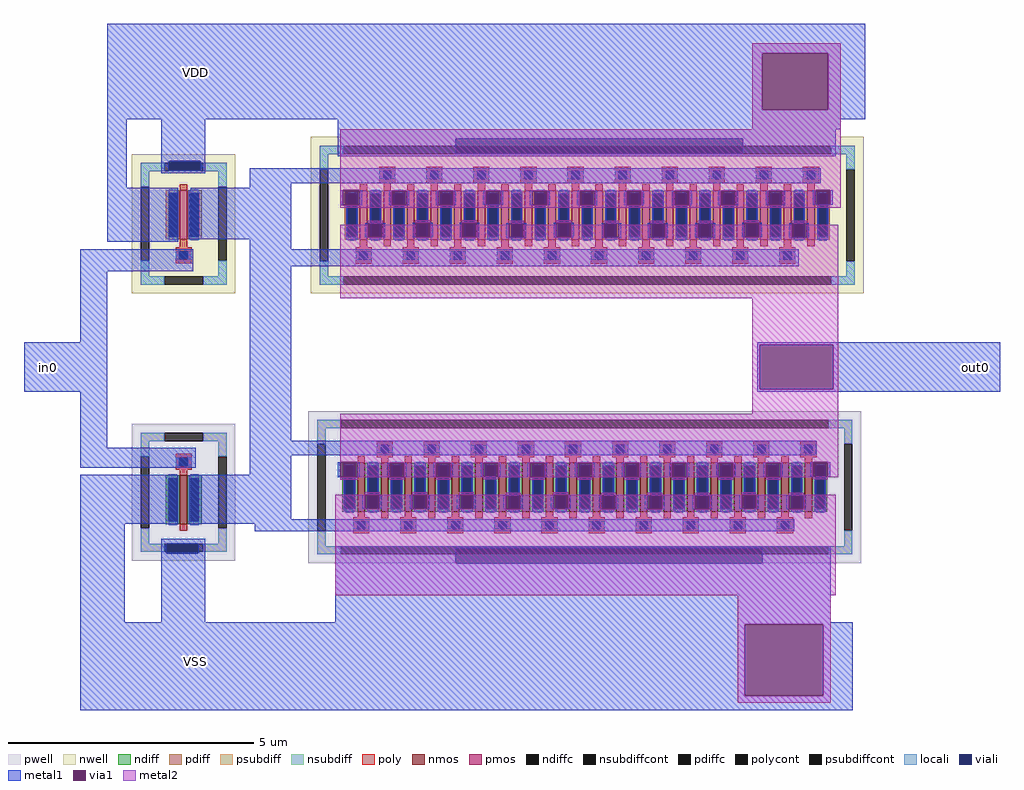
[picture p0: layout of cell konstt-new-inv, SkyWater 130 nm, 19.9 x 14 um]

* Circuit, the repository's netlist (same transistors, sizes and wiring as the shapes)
** sch_path: /media/sf_ASIC_Playground/konstt-new-inv/xschem/konstt-new-inv.sch
.subckt konstt-new-inv VDD VSS out0 in0
*.PININFO VDD:B VSS:B in0:I out0:O
XM1 inverted in0 VDD VDD sky130_fd_pr__pfet_01v8 L=0.15 W=1 nf=1 m=1
XM2 inverted in0 VSS VSS sky130_fd_pr__nfet_01v8 L=0.15 W=1 nf=1 m=1
XM3 out0 inverted VDD VDD sky130_fd_pr__pfet_01v8 L=0.15 W=20 nf=20 m=1
XM4 out0 inverted VSS VSS sky130_fd_pr__nfet_01v8 L=0.15 W=20 nf=20 m=1
.ends
.end

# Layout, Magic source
magic
tech sky130A
magscale 1 2
<< nwell >>
rect 4390 70 4750 420
rect 2710 -250 4750 70
<< viali >>
rect 3180 -30 4350 30
rect 2010 -100 2140 -60
rect 2000 -1660 2130 -1620
rect 3180 -1700 4430 -1640
<< metal1 >>
rect 1760 380 4850 500
rect 1760 150 4430 380
rect 4700 150 4850 380
rect 1760 110 4850 150
rect 1760 -170 1840 110
rect 1980 -60 2160 110
rect 2700 70 4750 110
rect 2700 30 4730 70
rect 2700 -30 3180 30
rect 4350 -30 4730 30
rect 2700 -40 4730 -30
rect 1980 -100 2010 -60
rect 2140 -100 2160 -60
rect 1980 -110 2160 -100
rect 2340 -150 4670 -90
rect 2340 -170 2510 -150
rect 1760 -390 2050 -170
rect 2100 -380 2510 -170
rect 2710 -240 2720 -180
rect 2790 -240 2800 -180
rect 2910 -240 2920 -182
rect 2981 -240 2991 -182
rect 3099 -240 3109 -182
rect 3170 -240 3180 -182
rect 3293 -239 3303 -181
rect 3364 -239 3374 -181
rect 3483 -240 3493 -182
rect 3554 -240 3564 -182
rect 3676 -240 3686 -182
rect 3747 -240 3757 -182
rect 3867 -240 3877 -182
rect 3938 -240 3948 -182
rect 4062 -240 4072 -182
rect 4133 -240 4143 -182
rect 4252 -240 4262 -182
rect 4323 -240 4333 -182
rect 4444 -240 4454 -182
rect 4515 -240 4525 -182
rect 4637 -238 4647 -180
rect 4708 -238 4718 -180
rect 2812 -371 2822 -313
rect 2883 -371 2893 -313
rect 3005 -370 3015 -312
rect 3076 -370 3086 -312
rect 3196 -370 3206 -312
rect 3267 -370 3277 -312
rect 3387 -372 3397 -314
rect 3458 -372 3468 -314
rect 3581 -370 3591 -312
rect 3652 -370 3662 -312
rect 3775 -372 3785 -314
rect 3846 -372 3856 -314
rect 3964 -372 3974 -314
rect 4035 -372 4045 -314
rect 4157 -372 4167 -314
rect 4228 -372 4238 -314
rect 4348 -370 4358 -312
rect 4419 -370 4429 -312
rect 4540 -372 4550 -314
rect 4611 -372 4621 -314
rect 2340 -420 2510 -380
rect 1650 -510 2110 -420
rect 2340 -490 4580 -420
rect 1650 -800 1760 -510
rect 1420 -1000 1760 -800
rect 1650 -1230 1760 -1000
rect 2340 -1200 2510 -490
rect 4410 -810 5400 -800
rect 4410 -990 4420 -810
rect 4720 -990 5400 -810
rect 4410 -1000 5400 -990
rect 1650 -1310 2120 -1230
rect 2340 -1260 4650 -1200
rect 2340 -1340 2510 -1260
rect 1650 -1540 2040 -1340
rect 2100 -1520 2510 -1340
rect 2700 -1349 2710 -1289
rect 2780 -1349 2790 -1289
rect 2900 -1349 2910 -1291
rect 2971 -1349 2981 -1291
rect 3089 -1349 3099 -1291
rect 3160 -1349 3170 -1291
rect 3283 -1348 3293 -1290
rect 3354 -1348 3364 -1290
rect 3473 -1349 3483 -1291
rect 3544 -1349 3554 -1291
rect 3666 -1349 3676 -1291
rect 3737 -1349 3747 -1291
rect 3857 -1349 3867 -1291
rect 3928 -1349 3938 -1291
rect 4052 -1349 4062 -1291
rect 4123 -1349 4133 -1291
rect 4242 -1349 4252 -1291
rect 4313 -1349 4323 -1291
rect 4434 -1349 4444 -1291
rect 4505 -1349 4515 -1291
rect 4627 -1347 4637 -1289
rect 4698 -1347 4708 -1289
rect 2800 -1479 2810 -1421
rect 2871 -1479 2881 -1421
rect 2993 -1478 3003 -1420
rect 3064 -1478 3074 -1420
rect 3184 -1478 3194 -1420
rect 3255 -1478 3265 -1420
rect 3375 -1480 3385 -1422
rect 3446 -1480 3456 -1422
rect 3569 -1478 3579 -1420
rect 3640 -1478 3650 -1420
rect 3763 -1480 3773 -1422
rect 3834 -1480 3844 -1422
rect 3952 -1480 3962 -1422
rect 4023 -1480 4033 -1422
rect 4145 -1480 4155 -1422
rect 4216 -1480 4226 -1422
rect 4336 -1478 4346 -1420
rect 4407 -1478 4417 -1420
rect 4528 -1480 4538 -1422
rect 4599 -1480 4609 -1422
rect 2100 -1540 4560 -1520
rect 1650 -1940 1830 -1540
rect 2360 -1570 4560 -1540
rect 1980 -1620 2160 -1600
rect 1980 -1660 2000 -1620
rect 2130 -1660 2160 -1620
rect 1980 -1940 2160 -1660
rect 2690 -1640 4710 -1630
rect 2690 -1700 3180 -1640
rect 4430 -1700 4710 -1640
rect 2690 -1940 4710 -1700
rect 1650 -1950 4800 -1940
rect 1650 -2240 4360 -1950
rect 4680 -2240 4800 -1950
rect 1650 -2300 4800 -2240
<< via1 >>
rect 4430 150 4700 380
rect 2720 -240 2790 -180
rect 2920 -240 2981 -182
rect 3109 -240 3170 -182
rect 3303 -239 3364 -181
rect 3493 -240 3554 -182
rect 3686 -240 3747 -182
rect 3877 -240 3938 -182
rect 4072 -240 4133 -182
rect 4262 -240 4323 -182
rect 4454 -240 4515 -182
rect 4647 -238 4708 -180
rect 2822 -371 2883 -313
rect 3015 -370 3076 -312
rect 3206 -370 3267 -312
rect 3397 -372 3458 -314
rect 3591 -370 3652 -312
rect 3785 -372 3846 -314
rect 3974 -372 4035 -314
rect 4167 -372 4228 -314
rect 4358 -370 4419 -312
rect 4550 -372 4611 -314
rect 4420 -990 4720 -810
rect 2710 -1349 2780 -1289
rect 2910 -1349 2971 -1291
rect 3099 -1349 3160 -1291
rect 3293 -1348 3354 -1290
rect 3483 -1349 3544 -1291
rect 3676 -1349 3737 -1291
rect 3867 -1349 3928 -1291
rect 4062 -1349 4123 -1291
rect 4252 -1349 4313 -1291
rect 4444 -1349 4505 -1291
rect 4637 -1347 4698 -1289
rect 2810 -1479 2871 -1421
rect 3003 -1478 3064 -1420
rect 3194 -1478 3255 -1420
rect 3385 -1480 3446 -1422
rect 3579 -1478 3640 -1420
rect 3773 -1480 3834 -1422
rect 3962 -1480 4023 -1422
rect 4155 -1480 4216 -1422
rect 4346 -1478 4407 -1420
rect 4538 -1480 4599 -1422
rect 4360 -2240 4680 -1950
<< metal2 >>
rect 4390 380 4750 420
rect 4390 150 4430 380
rect 4700 150 4750 380
rect 4390 70 4750 150
rect 2710 -180 4750 70
rect 2710 -240 2720 -180
rect 2790 -181 4647 -180
rect 2790 -182 3303 -181
rect 2790 -240 2920 -182
rect 2981 -240 3109 -182
rect 3170 -239 3303 -182
rect 3364 -182 4647 -181
rect 3364 -239 3493 -182
rect 3170 -240 3493 -239
rect 3554 -240 3686 -182
rect 3747 -240 3877 -182
rect 3938 -240 4072 -182
rect 4133 -240 4262 -182
rect 4323 -240 4454 -182
rect 4515 -238 4647 -182
rect 4708 -238 4750 -180
rect 4515 -240 4750 -238
rect 2710 -250 4750 -240
rect 2822 -313 2883 -303
rect 2710 -371 2822 -320
rect 3015 -312 3076 -302
rect 2883 -370 3015 -320
rect 3206 -312 3267 -302
rect 3076 -370 3206 -320
rect 3397 -314 3458 -304
rect 3267 -370 3397 -320
rect 2883 -371 3397 -370
rect 2710 -372 3397 -371
rect 3591 -312 3652 -302
rect 3458 -370 3591 -320
rect 3785 -314 3846 -304
rect 3652 -370 3785 -320
rect 3458 -372 3785 -370
rect 3974 -314 4035 -304
rect 3846 -372 3974 -320
rect 4167 -314 4228 -304
rect 4035 -372 4167 -320
rect 4358 -312 4419 -302
rect 4228 -370 4358 -320
rect 4550 -314 4611 -304
rect 4419 -370 4550 -320
rect 4228 -372 4550 -370
rect 4611 -372 4740 -320
rect 2710 -620 4740 -372
rect 4390 -810 4740 -620
rect 4390 -990 4420 -810
rect 4720 -990 4740 -810
rect 4390 -1090 4740 -990
rect 2710 -1289 4740 -1090
rect 2780 -1290 4637 -1289
rect 2780 -1291 3293 -1290
rect 2780 -1349 2910 -1291
rect 2971 -1349 3099 -1291
rect 3160 -1348 3293 -1291
rect 3354 -1291 4637 -1290
rect 3354 -1348 3483 -1291
rect 3160 -1349 3483 -1348
rect 3544 -1349 3676 -1291
rect 3737 -1349 3867 -1291
rect 3928 -1349 4062 -1291
rect 4123 -1349 4252 -1291
rect 4313 -1349 4444 -1291
rect 4505 -1347 4637 -1291
rect 4698 -1347 4740 -1289
rect 4505 -1349 4740 -1347
rect 2710 -1350 4740 -1349
rect 2710 -1359 2780 -1350
rect 2910 -1359 2971 -1350
rect 3099 -1359 3160 -1350
rect 3293 -1358 3354 -1350
rect 3483 -1359 3544 -1350
rect 3676 -1359 3737 -1350
rect 3867 -1359 3928 -1350
rect 4062 -1359 4123 -1350
rect 4252 -1359 4313 -1350
rect 4444 -1359 4505 -1350
rect 4637 -1357 4698 -1350
rect 2810 -1420 2871 -1411
rect 3003 -1420 3064 -1410
rect 3194 -1420 3255 -1410
rect 3385 -1420 3446 -1412
rect 3579 -1420 3640 -1410
rect 3773 -1420 3834 -1412
rect 3962 -1420 4023 -1412
rect 4155 -1420 4216 -1412
rect 4346 -1420 4407 -1410
rect 4538 -1420 4599 -1412
rect 2690 -1421 3003 -1420
rect 2690 -1479 2810 -1421
rect 2871 -1478 3003 -1421
rect 3064 -1478 3194 -1420
rect 3255 -1422 3579 -1420
rect 3255 -1478 3385 -1422
rect 2871 -1479 3385 -1478
rect 2690 -1480 3385 -1479
rect 3446 -1478 3579 -1422
rect 3640 -1422 4346 -1420
rect 3640 -1478 3773 -1422
rect 3446 -1480 3773 -1478
rect 3834 -1480 3962 -1422
rect 4023 -1480 4155 -1422
rect 4216 -1478 4346 -1422
rect 4407 -1422 4730 -1420
rect 4407 -1478 4538 -1422
rect 4216 -1480 4538 -1478
rect 4599 -1480 4730 -1422
rect 2690 -1830 4730 -1480
rect 4330 -1950 4710 -1830
rect 4330 -2240 4360 -1950
rect 4680 -2240 4710 -1950
rect 4330 -2270 4710 -2240
use sky130_fd_pr__pfet_01v8_8DVCWJ  sky130_fd_pr__pfet_01v8_8DVCWJ_0 ~/asic/konstt-new-inv/mag
transform 1 0 3717 0 1 -281
box -1127 -319 1127 319
use sky130_fd_pr__pfet_01v8_MGS3BN  XM1
transform 1 0 2071 0 -1 -316
box -211 -284 211 284
use sky130_fd_pr__nfet_01v8_64Z3AY  XM2
transform 1 0 2071 0 1 -1411
box -211 -279 211 279
use sky130_fd_pr__nfet_01v8_YTLFGX  XM4 ~/asic/konstt-new-inv/mag
transform 1 0 3707 0 1 -1390
box -1127 -310 1127 310
<< labels >>
flabel metal1 5200 -1000 5400 -800 0 FreeSans 256 0 0 0 out0
port 2 nsew
flabel metal1 1420 -1000 1620 -800 0 FreeSans 256 0 0 0 in0
port 3 nsew
flabel metal1 2020 -2200 2220 -2000 0 FreeSans 256 0 0 0 VSS
port 1 nsew
flabel metal1 2020 200 2220 400 0 FreeSans 256 0 0 0 VDD
port 0 nsew
<< end >>

# cell sky130_fd_pr__pfet_01v8_8DVCWJ: kit device sky130_fd_pr__pfet_01v8, w 1.0 l 0.15 m 1 nf 20 diffcov 100 polycov 100 guard 1 glc 1 grc 1 gtc 1 gbc 1 tbcov 100 rlcov 100 topc 1 botc 1 poverlap 0 doverlap 1 lmin 0.15 wmin 0.42 compatible {sky130_fd_pr__pfet_01v8 sky130_fd_pr__pfet_01v8_lvt sky130_fd_pr__pfet_01v8_hvt sky130_fd_pr__pfet_g5v0d10v5} full_metal 1 viasrc 100 viadrn 100 viagate 100 viagb 0 viagr 0 viagl 0 viagt 0

# cell sky130_fd_pr__pfet_01v8_MGS3BN: kit device sky130_fd_pr__pfet_01v8, w 1.0 l 0.15 m 1 nf 1 diffcov 100 polycov 100 guard 1 glc 1 grc 1 gtc 1 gbc 1 tbcov 100 rlcov 100 topc 1 botc 0 poverlap 0 doverlap 1 lmin 0.15 wmin 0.42 compatible {sky130_fd_pr__pfet_01v8 sky130_fd_pr__pfet_01v8_lvt sky130_fd_pr__pfet_01v8_hvt sky130_fd_pr__pfet_g5v0d10v5} full_metal 1 viasrc 100 viadrn 100 viagate 100 viagb 0 viagr 0 viagl 0 viagt 0

# cell sky130_fd_pr__nfet_01v8_64Z3AY: kit device sky130_fd_pr__nfet_01v8, w 1.0 l 0.15 m 1 nf 1 diffcov 100 polycov 100 guard 1 glc 1 grc 1 gtc 1 gbc 1 tbcov 100 rlcov 100 topc 1 botc 0 poverlap 0 doverlap 1 lmin 0.15 wmin 0.42 compatible {sky130_fd_pr__nfet_01v8 sky130_fd_pr__nfet_01v8_lvt sky130_fd_bs_flash__special_sonosfet_star sky130_fd_pr__nfet_g5v0d10v5 sky130_fd_pr__nfet_05v0_nvt sky130_fd_pr__nfet_03v3_nvt} full_metal 1 viasrc 100 viadrn 100 viagate 100 viagb 0 viagr 0 viagl 0 viagt 0

# cell sky130_fd_pr__nfet_01v8_YTLFGX: kit device sky130_fd_pr__nfet_01v8, w 1.0 l 0.15 m 1 nf 20 diffcov 100 polycov 100 guard 1 glc 1 grc 1 gtc 1 gbc 1 tbcov 100 rlcov 100 topc 1 botc 1 poverlap 0 doverlap 1 lmin 0.15 wmin 0.42 compatible {sky130_fd_pr__nfet_01v8 sky130_fd_pr__nfet_01v8_lvt sky130_fd_bs_flash__special_sonosfet_star sky130_fd_pr__nfet_g5v0d10v5 sky130_fd_pr__nfet_05v0_nvt sky130_fd_pr__nfet_03v3_nvt} full_metal 1 viasrc 100 viadrn 100 viagate 100 viagb 0 viagr 0 viagl 0 viagt 0
